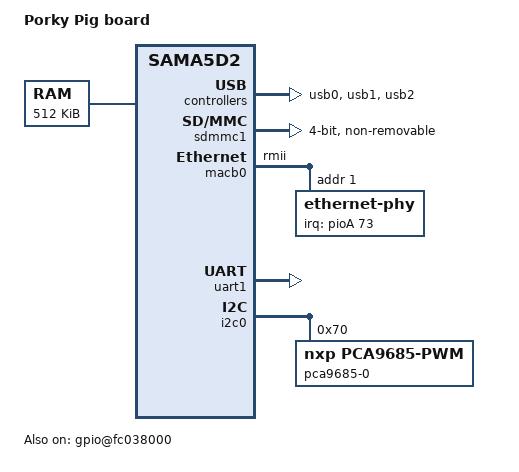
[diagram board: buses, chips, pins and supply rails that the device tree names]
/*
 * acme-porkypig.dts
 * Device tree for the Porky Pig board
 * 
 *  Copyleft (C) 2018 Sergio Tanzilli <tanzilli@acmesystems.it>
 */

/dts-v1/;
#include "sama5d2.dtsi"
#include "sama5d2-pinfunc.h"
#include <dt-bindings/mfd/atmel-flexcom.h>
#include <dt-bindings/gpio/gpio.h>

/ {
	model = "Porky Pig board";
	compatible = "atmel,sama5d2-porkypig", "atmel,sama5d2", "atmel,sama5";

	chosen {
		stdout-path = "serial0:115200n8";
		bootargs = "mem=256M console=ttyS0,115200 root=/dev/mmcblk0p2 rootfstype=ext4 rw rootwait consoleblank=0";
	};

	memory {
		reg = <0x20000000 0x80000>;
	};

	clocks {
		slow_xtal {
			clock-frequency = <32768>;
		};

		main_xtal {
			clock-frequency = <12000000>;
		};
	};

	ahb {
		usb0: gadget@00300000 {
			pinctrl-names = "default";
			pinctrl-0 = <&pinctrl_usba_vbus>;
			status = "okay";
		};

		usb1: ohci@00400000 {
			num-ports = <3>;
			pinctrl-names = "default";
			pinctrl-0 = <&pinctrl_usb_default>;
			status = "okay";
		};

		usb2: ehci@00500000 {
			status = "okay";
		};

		sdmmc1: sdio-host@b0000000 {
			bus-width = <4>;
			pinctrl-names = "default";
			pinctrl-0 = <&pinctrl_sdmmc1_default>;
			non-removable;
			status = "okay"; /* conflict with qspi0 */
		};


		apb {
			//---------------
			// Internal PWM
			//---------------

			pwm0: pwm@f802c000 {
				compatible = "atmel,sama5d2-pwm";
				reg = <0xf802c000 0x4000>;
				pinctrl-names = "default";
				pinctrl-0 = <&pinctrl_pwm0_default>;
				interrupts = <38 IRQ_TYPE_LEVEL_HIGH 7>;
				clocks = <&pwm_clk>;
				#pwm-cells = <3>;
				status = "disabled";
			};		
			
			macb0: ethernet@f8008000 {
				pinctrl-names = "default";
				pinctrl-0 = <&pinctrl_macb0_default &pinctrl_macb0_phy_irq>;
				phy-mode = "rmii";
				status = "okay";

				ethernet-phy@1 {
					reg = <0x1>;
					interrupt-parent = <&pioA>;
					interrupts = <73 IRQ_TYPE_LEVEL_LOW>;
				};
			};

			/* Debug port */

			uart1: serial@f8020000 {
				pinctrl-names = "default";
				pinctrl-0 = <&pinctrl_uart1_default>;
				status = "okay";
			};

			//-----------------------------------
			// PWM Lines on PCA9685 via I2C 
			//-----------------------------------

			i2c0: i2c@f8028000 {
				dmas = <0>, <0>;
				pinctrl-names = "default";
				pinctrl-0 = <&pinctrl_i2c0_default>;
				i2c-sda-hold-time-ns = <350>;
				status = "okay";
				
				pca9685-0@70 {
					compatible = "nxp,pca9685-pwm";
					reg = <0x70>;
				};
			};

			flx0: flexcom@f8034000 {
				atmel,flexcom-mode = <ATMEL_FLEXCOM_MODE_USART>;
				status = "disabled"; /* conflict with ISC_D2 & ISC_D3 data pins */

				uart5: serial@200 {
					compatible = "atmel,at91sam9260-usart";
					reg = <0x200 0x200>;
					interrupts = <19 IRQ_TYPE_LEVEL_HIGH 7>;
					clocks = <&flx0_clk>;
					clock-names = "usart";
					pinctrl-names = "default";
					pinctrl-0 = <&pinctrl_flx0_default>;
					atmel,fifo-size = <32>;
					status = "disabled";
				};
			};

			shdwc@f8048010 {
				atmel,shdwc-debouncer = <976>;
				input@0 {
					reg = <0>;
					atmel,wakeup-type = "low";
				};
			};

			watchdog@f8048040 {
				status = "okay";
			};
			
			gpio@fc038000 {
				compatible = "atmel,sama5d2-gpio";
				pinctrl-names = "default";
				pinctrl-0 = <&pinctrl_gpio>;
				status = "okay";
			};

			pinctrl@fc038000 {
				/* Set as GPIO the pins that are not by default */

				pinctrl_gpio: gpio_default {
					pinmux = <PIN_PD4__GPIO>,
						     <PIN_PD5__GPIO>,
						     <PIN_PD21__GPIO>,
						     <PIN_PD22__GPIO>,
						     <PIN_PD14__GPIO>,
						     <PIN_PD15__GPIO>,
						     <PIN_PD16__GPIO>,
						     <PIN_PD17__GPIO>;
						     
					bias-pull-up;
				};

				/* Set the pin for hardware PWM */

				pinctrl_pwm0_default: pwm0_default {
					pinmux = 	/* <PIN_PA30__PWMH0>, */
								/* <PIN_PA31__PWML0>, */
								<PIN_PB0__PWMH1>,
								<PIN_PB1__PWML1>,
								<PIN_PB5__PWMH2>,
								<PIN_PB6__PWML2>,
								<PIN_PB7__PWMH3>,
								<PIN_PB8__PWML3>;
					bias-pull-up;
				};

			
				/*
				 * There is no real pinmux for ADC, if the pin
				 * is not requested by another peripheral then
				 * the muxing is done when channel is enabled.
				 * Requesting pins for ADC is GPIO is
				 * encouraged to prevent conflicts and to
				 * disable bias in order to be in the same
				 * state when the pin is not muxed to the adc.
				 */
				pinctrl_adc_default: adc_default {
					pinmux = <PIN_PD23__GPIO>;
					bias-disable;
				};

				pinctrl_charger_chglev: charger_chglev {
					pinmux = <PIN_PA12__GPIO>;
					bias-disable;
				};

				pinctrl_charger_irq: charger_irq {
					pinmux = <PIN_PB13__GPIO>;
					bias-disable;
				};

				pinctrl_charger_lbo: charger_lbo {
					pinmux = <PIN_PC8__GPIO>;
					bias-pull-up;
				};

				pinctrl_flx0_default: flx0_default {
					pinmux = <PIN_PB28__FLEXCOM0_IO0>,
						 <PIN_PB29__FLEXCOM0_IO1>;
					bias-disable;
				};

				pinctrl_flx4_default: flx4_default {
					pinmux = <PIN_PD12__FLEXCOM4_IO0>,
						 <PIN_PD13__FLEXCOM4_IO1>;
					bias-disable;
				};

				pinctrl_i2c0_default: i2c0_default {
					pinmux = <PIN_PD21__TWD0>,
						 <PIN_PD22__TWCK0>;
					bias-disable;
				};

				pinctrl_i2c1_default: i2c1_default {
					pinmux = <PIN_PD4__TWD1>,
						 <PIN_PD5__TWCK1>;
					bias-disable;
				};

				pinctrl_macb0_default: macb0_default {
					pinmux = <PIN_PB14__GTXCK>,
						 <PIN_PB15__GTXEN>,
						 <PIN_PB16__GRXDV>,
						 <PIN_PB17__GRXER>,
						 <PIN_PB18__GRX0>,
						 <PIN_PB19__GRX1>,
						 <PIN_PB20__GTX0>,
						 <PIN_PB21__GTX1>,
						 <PIN_PB22__GMDC>,
						 <PIN_PB23__GMDIO>;
					bias-disable;
				};

				pinctrl_macb0_phy_irq: macb0_phy_irq {
					pinmux = <PIN_PC9__GPIO>;
					bias-disable;
				};

				pinctrl_pdmic_default: pdmic_default {
					pinmux = <PIN_PB26__PDMIC_DAT>,
						<PIN_PB27__PDMIC_CLK>;
					bias-disable;
				};

				pinctrl_sdmmc1_default: sdmmc1_default {
					cmd_data {
						pinmux = <PIN_PA28__SDMMC1_CMD>,
							 <PIN_PA18__SDMMC1_DAT0>,
							 <PIN_PA19__SDMMC1_DAT1>,
							 <PIN_PA20__SDMMC1_DAT2>,
							 <PIN_PA21__SDMMC1_DAT3>;
						bias-pull-up;
					};

					conf-ck {
						pinmux = <PIN_PA22__SDMMC1_CK>;
						bias-disable;
					};
					
					/* The cd line is used on microSD socket */
					conf-cd {
						pinmux = <PIN_PA30__SDMMC1_CD>;
						bias-pull-down;
					};
				};


				pinctrl_spi0_default: spi0_default {
					pinmux = <PIN_PA14__SPI0_SPCK>,
						 <PIN_PA15__SPI0_MOSI>,
						 <PIN_PA16__SPI0_MISO>,
						 <PIN_PA17__SPI0_NPCS0>;
					bias-disable;
				};

				pinctrl_uart1_default: uart1_default {
					pinmux = <PIN_PD2__URXD1>,
						 <PIN_PD3__UTXD1>;
					bias-disable;
				};

				pinctrl_uart3_default: uart3_default {
					pinmux = <PIN_PB11__URXD3>,
						 <PIN_PB12__UTXD3>;
					bias-disable;
				};

				pinctrl_usb_default: usb_default {
					pinmux = <PIN_PB10__GPIO>;
					bias-disable;
				};

				pinctrl_usba_vbus: usba_vbus {
					pinmux = <PIN_PA31__GPIO>;
					bias-disable;
				};
				
			};
		};
	};
	
};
